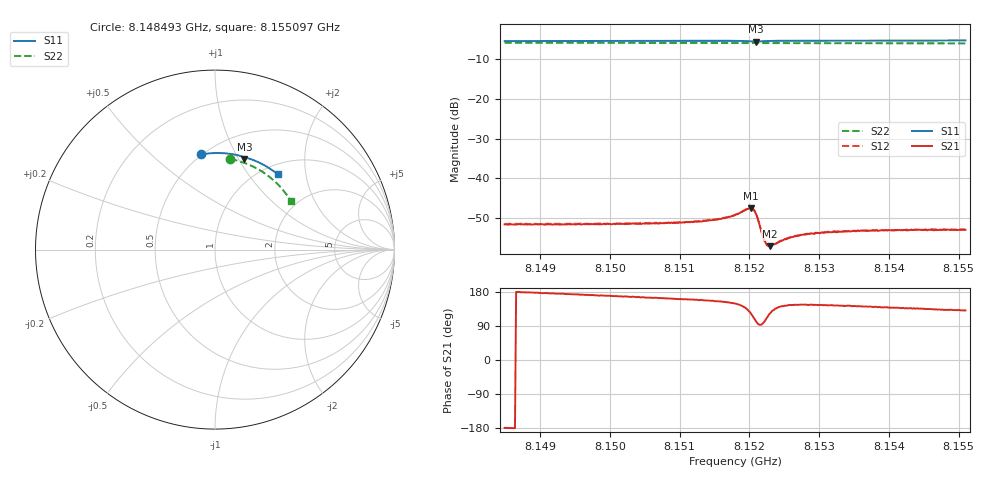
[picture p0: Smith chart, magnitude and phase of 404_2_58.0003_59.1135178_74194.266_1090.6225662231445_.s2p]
#  HZ  S  RI  R  50.00
! Rohde & Schwarz Vector Network Analyzer
! Rohde-Schwarz,ZNB20-2Port,1311601062101988,3.16
! Created: UTC 3/21/2024, 1:08:22 AM
! freq[Hz]  re:S11  im:S11  re:S21  im:S21  re:S12  im:S12  re:S22  im:S22
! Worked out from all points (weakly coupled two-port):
!   401 points, 8.148493 GHz to 8.155097 GHz, reference 50 ohm
!   highest |S21| = -47.53 dB at 8.152026 GHz (marker M1); lowest = -57.1 dB at 8.15229 GHz (marker M2)
!   lowest |S11| = -5.5 dB at 8.152092 GHz (marker M3), VSWR 3.24, Z = 37.8 + j52.8 ohm
!   |S11| at or under -10 dB: nowhere
!   |S22| runs from -6.0 to -5.8 dB; largest |S21 - S12| = 0.00011
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8.1484926e9  -0.0786 0.5302  -0.00262 -3.33e-05  -0.00267 3.31e-05  0.0853 0.5047
8.1495989e9  -0.0018 0.5379  -0.00259 0.00035  -0.00261 0.000437  0.1546 0.4862
8.1507051e9  0.0752 0.5344  -0.00258 0.000773  -0.00257 0.000817  0.2203 0.4586
8.1513161e9  0.1176 0.5277  -0.00264 0.00105  -0.00264 0.00113  0.2543 0.4395
8.1515472e9  0.134 0.5238  -0.00275 0.00129  -0.00272 0.00131  0.2669 0.4317
8.1517949e9  0.1521 0.5181  -0.00294 0.00177  -0.00292 0.00182  0.2798 0.4227
8.1519765e9  0.1647 0.509  -0.00277 0.00304  -0.00276 0.00307  0.2893 0.4158
8.152026e9  0.1658 0.5049  -0.00223 0.00356  -0.00218 0.00362  0.2917 0.4138
8.1520591e9  0.1651 0.503  -0.00155 0.00373  -0.00151 0.00377  0.2932 0.4127
8.1520921e9  0.1636 0.5026  -0.000817 0.00352  -0.000767 0.00355  0.2947 0.4115
8.1521251e9  0.1628 0.504  -0.000263 0.00299  -0.000243 0.00302  0.2964 0.4103
8.1521912e9  0.1657 0.5079  -0.000205 0.00188  -0.000184 0.00189  0.2997 0.4081
8.1522242e9  0.1683 0.509  -0.000366 0.00157  -0.000338 0.00153  0.3013 0.4067
8.1522572e9  0.1712 0.5096  -0.000543 0.00131  -0.000539 0.00131  0.303 0.4056
8.1522902e9  0.1739 0.5097  -0.000741 0.00118  -0.00071 0.0012  0.3048 0.4043
8.1526039e9  0.198 0.5044  -0.00148 0.00104  -0.00151 0.00106  0.3203 0.3915
8.1527691e9  0.2095 0.5006  -0.00161 0.00108  -0.0016 0.00113  0.3282 0.3845
8.1529011e9  0.2182 0.4969  -0.00166 0.00114  -0.00166 0.00115  0.3343 0.3791
8.1531983e9  0.2376 0.4888  -0.0017 0.00123  -0.00169 0.00129  0.3477 0.3659
8.1540074e9  0.2873 0.4628  -0.00167 0.00146  -0.00167 0.00151  0.3819 0.3282
8.1546513e9  0.3246 0.4384  -0.00153 0.00159  -0.00158 0.00163  0.4061 0.2961
8.1550971e9  0.349 0.42  -0.00146 0.00169  -0.00143 0.00172  0.4212 0.2724
